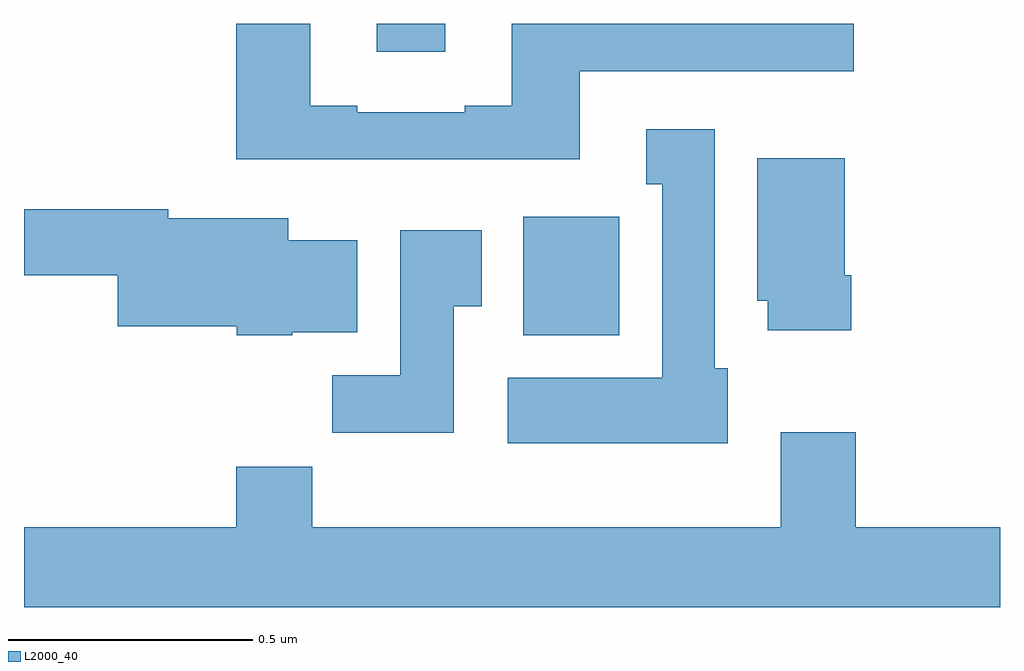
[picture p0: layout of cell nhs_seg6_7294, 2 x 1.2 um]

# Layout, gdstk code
import gdstk
lib = gdstk.Library(unit=1e-6, precision=1e-09)
def R(c, l, rs):  # rectangles x0, y0, x1, y1
    for r in rs: c.add(gdstk.rectangle(r[:2], r[2:], *l))
def P(c, l, *ps):  # polygons
    for p in ps: c.add(gdstk.Polygon(p, *l))
L2000_40 = (2000, 40)

nhs_seg6_7294 = lib.new_cell('nhs_seg6_7294')
R(nhs_seg6_7294, L2000_40, [(207.023,979.862,207.22,980.104), (206.723,980.442,206.863,980.5)])
P(nhs_seg6_7294, L2000_40, [(207.139,980.403),(207.7,980.403),(207.7,980.5),(206.999,980.5),(206.999,980.332),(206.903,980.332),(206.903,980.319),(206.683,980.319),(206.683,980.332),(206.587,980.332),(206.587,980.5),(206.435,980.5),(206.435,980.222),(207.139,980.222)],
  [(207.442,979.794),(207.415,979.794),(207.415,980.284),(207.275,980.284),(207.275,980.171),(207.308,980.171),(207.308,979.774),(206.991,979.774),(206.991,979.64),(207.442,979.64)],
  [(207.695,979.984),(207.682,979.984),(207.682,980.224),(207.503,980.224),(207.503,979.932),(207.524,979.932),(207.524,979.872),(207.695,979.872)],
  [(206.55,979.868),(206.683,979.868),(206.683,980.056),(206.542,980.056),(206.542,980.101),(206.296,980.101),(206.296,980.12),(206,980.12),(206,979.984),(206.192,979.984),(206.192,979.88),(206.436,979.88),(206.436,979.862),(206.55,979.862)],
  [(206.881,979.921),(206.938,979.921),(206.938,980.077),(206.771,980.077),(206.771,979.78),(206.632,979.78),(206.632,979.662),(206.881,979.662)],
  [(208,979.468),(207.704,979.468),(207.704,979.663),(207.551,979.663),(207.551,979.468),(206.591,979.468),(206.591,979.592),(206.435,979.592),(206.435,979.468),(206,979.468),(206,979.304),(208,979.304)])

lib.write_gds('nhs_seg6_7294.gds')
